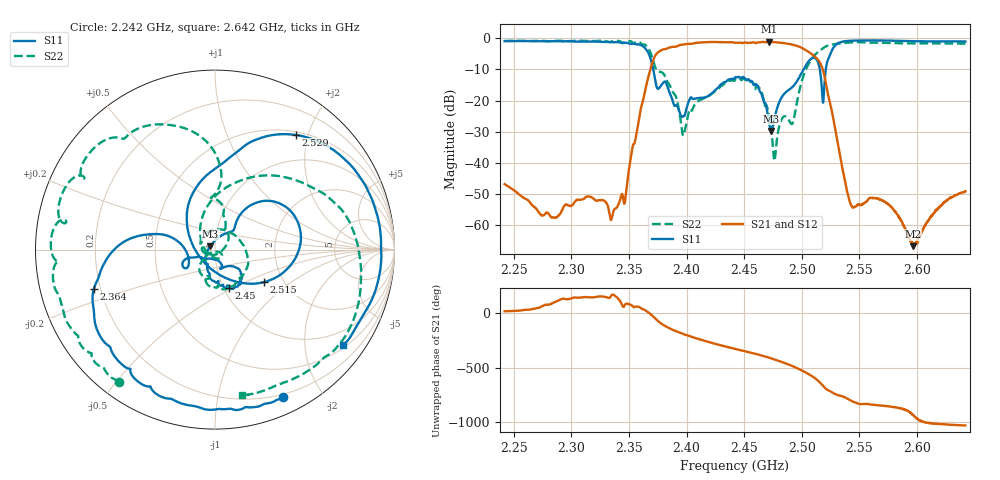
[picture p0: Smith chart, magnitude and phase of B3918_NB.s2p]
! Matrix data file written by TouchstoneData, EPCOS AG
! FILENAME: "B3918.PCB3.NB.snp"
! COMMENT: "xxxx"
! INFO: nport=2, nfreq=1601
! DATE: "Mon Dec  2 10:58:04 2013"
! USER: "Dan Wang"
! port | pin | signal
!  1  |  2  |  Input
!  2  |  5  |  Output
# MHZ S RI R 50
! freq  reS11 imS11  reS21 imS21  reS12 imS12  reS22 imS22
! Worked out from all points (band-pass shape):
!   1601 points, 2.242 GHz to 2.642 GHz, reference 50 ohm
!   highest |S21| = -1.09 dB at 2.472 GHz (marker M1); lowest = -66.9 dB at 2.596 GHz (marker M2)
!   |S21| within 3 dB of the highest: 2.377 GHz to 2.505 GHz (128.3 MHz wide, 5.25 % of centre)
!   lowest |S11| = -29.8 dB at 2.474 GHz (marker M3), VSWR 1.07, Z = 47.4 + j1.81 ohm
!   |S11| at or under -10 dB: 2.371 GHz to 2.502 GHz (130.4 MHz wide, 5.35 % of centre); 2.515628 GHz to 2.520788 GHz (5.161 MHz wide, 0.205 % of centre)
!   |S22| runs from -39.5 to -0.7 dB; largest |S21 - S12| = 0
!   S11 on the Smith chart (normalised r, x): 2.242 GHz: 0.17, -1.55; 2.364 GHz: 0.17, -0.15; 2.45 GHz: 1.06, -0.48; 2.515 GHz: 1.58, -0.64; 2.529 GHz: 0.55, +1.80; 2.642 GHz: 0.56, -2.92
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2242  0.3789 -0.8218  0.00433 0.00124  0.00433 0.00124  -0.5369 -0.736
2284  0.1988 -0.8799  -4.22e-05 0.0013  -4.22e-05 0.0013  -0.7077 -0.57
2308.75  0.0494 -0.8893  -0.002 0.00157  -0.002 0.00157  -0.8354 -0.3809
2346  -0.3943 -0.7566  0.00089 0.002  0.00089 0.002  -0.8584 0.1587
2363.5  -0.6758 -0.2203  0.1155 0.0635  0.1155 0.0635  -0.4168 0.6789
2375.5  -0.1474 -0.0469  0.1331 -0.5893  0.1331 -0.5893  -0.0212 0.2915
2397.75  0.00152 -0.056  -0.7744 0.2011  -0.7744 0.2011  -0.00228 -0.029
2418.75  0.0742 -0.0919  -0.091 0.8692  -0.091 0.8692  0.0361 0.112
2442  0.1464 -0.1839  0.7218 0.4488  0.7218 0.4488  0.1391 -0.1636
2450.5  0.0774 -0.2147  0.8429 0.161  0.8429 0.161  0.0318 -0.2178
2471.75  -0.0415 -0.00707  0.5764 -0.6674  0.5764 -0.6674  -0.0453 -0.0326
2473.5  -0.0261 0.0191  0.5022 -0.7222  0.5022 -0.7222  -0.028 -0.0187
2476.75  0.0057 0.0556  0.3489 -0.7983  0.3489 -0.7983  0.00549 -0.0106
2496.25  0.1256 0.1701  -0.6222 -0.4267  -0.6222 -0.4267  -0.0802 0.0666
2508.75  0.4361 0.1974  -0.4483 0.3302  -0.4483 0.3302  0.2361 0.409
2515.5  0.271 -0.1821  0.0186 0.4152  0.0186 0.4152  0.5287 0.3524
2520.5  -0.1506 0.2428  0.1807 0.1061  0.1807 0.1061  0.7008 0.2274
2529.25  0.4499 0.6394  0.0306 -0.0123  0.0306 -0.0123  0.8101 -0.0662
2543.25  0.8835 0.2566  0.000186 -0.00197  0.000186 -0.00197  0.7667 -0.4031
2575.5  0.8962 -0.2207  -0.00143 -0.00154  -0.00143 -0.00154  0.4636 -0.7067
2596.25  0.8282 -0.3611  -0.0004 0.000209  -0.0004 0.000209  0.3381 -0.7581
2642  0.7155 -0.5332  0.00206 0.00277  0.00206 0.00277  0.1523 -0.8101
